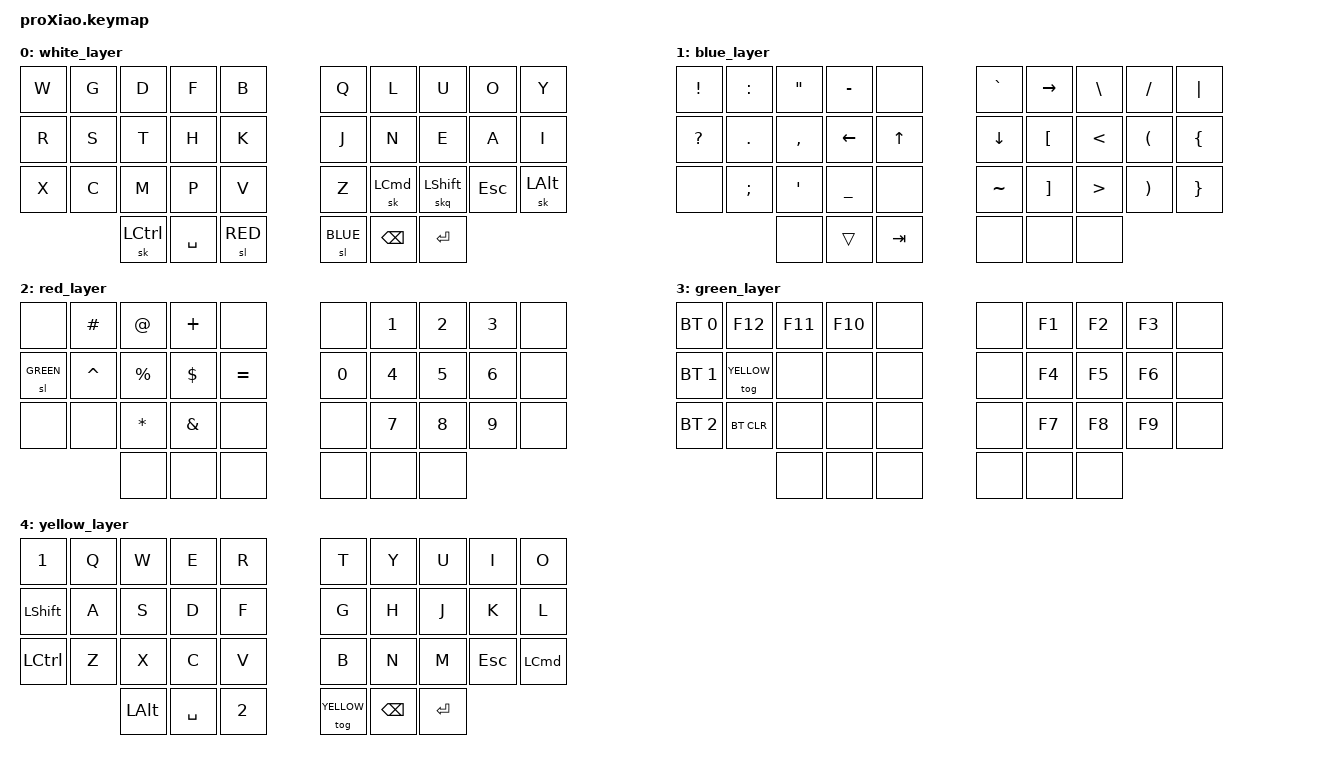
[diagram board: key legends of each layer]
/*
 * Copyright (c) 2020 The ZMK Contributors
 *
 * SPDX-License-Identifier: MIT
 */

#include <behaviors.dtsi>
#include <dt-bindings/zmk/keys.h>
#include <dt-bindings/zmk/bt.h>
#include <dt-bindings/zmk/outputs.h>

#define WHITE 0
#define BLUE 1
#define RED 2
#define GREEN 3
#define YELLOW 4

/ {
  behaviors {
    skq: sticky_key_quick_release {
      compatible = "zmk,behavior-sticky-key";
      label = "STICKY_KEY_QUICK_RELEASE";
      #binding-cells = <1>;
      bindings = <&kp>;
      release-after-ms = <1000>;
      quick-release;
      ignore-modifiers;
    };
  };

  keymap {
    compatible = "zmk,keymap";

    white_layer { bindings = <
    // ╭────────┬─────┬─────────┬─────────┬───────╮    ╭────────┬────────┬──────────┬───────┬───────╮
        &kp W    &kp G &kp D     &kp F     &kp B        &kp Q    &kp L    &kp U      &kp O   &kp Y  
    // ├────────┼─────┼─────────┼─────────┼───────┤    ├────────┼────────┼──────────┼───────┼───────┤
        &kp R    &kp S &kp T     &kp H     &kp K        &kp J    &kp N    &kp E      &kp A   &kp I  
    // ├────────┼─────┼─────────┼─────────┼───────┤    ├────────┼────────┼──────────┼───────┼───────┤
        &kp X    &kp C &kp M     &kp P     &kp V        &kp Z    &sk LCMD &skq LSHFT &kp ESC &sk LALT
    // ╰────────┴─────┴─────────┼─────────┼───────┤    ├────────┼────────┼──────────┼───────┴───────╯
                       &sk LCTRL &kp SPACE &sl RED      &sl BLUE &kp BSPC &kp ENTER
    //                ╰─────────┴─────────┴───────╯    ╰────────┴────────┴──────────╯
    >;};

    blue_layer { bindings = <
    // ╭─────────┬─────────┬─────────────┬─────────┬────────╮    ╭─────────┬─────────┬────────┬────────┬────────╮
        &kp EXCL  &kp COLON &kp DQT       &kp MINUS &none         &kp GRAVE &kp RIGHT &kp BSLH &kp FSLH &kp PIPE
    // ├─────────┼─────────┼─────────────┼─────────┼────────┤    ├─────────┼─────────┼────────┼────────┼────────┤
        &kp QMARK &kp DOT   &kp COMMA     &kp LEFT  &kp UP        &kp DOWN  &kp LBKT  &kp LT   &kp LPAR &kp LBRC
    // ├─────────┼─────────┼─────────────┼─────────┼────────┤    ├─────────┼─────────┼────────┼────────┼────────┤
        &none     &kp SEMI  &kp APOS      &kp UNDER &none         &kp TILDE &kp RBKT  &kp GT   &kp RPAR &kp RBRC
    // ╰─────────┴─────────┴─────────────┼─────────┼────────┤    ├─────────┼─────────┼────────┼────────┴────────╯
                            &none         &trans    &kp TAB       &none     &none     &none
    //                     ╰─────────────┴─────────┴────────╯    ╰─────────┴─────────┴────────╯
    >;};

    red_layer { bindings = <
    // ╭─────────┬─────────┬─────────┬────────┬─────────╮    ╭──────┬──────┬──────┬──────┬─────╮
        &none     &kp HASH  &kp AT    &kp PLUS &none          &none  &kp N1 &kp N2 &kp N3 &none
    // ├─────────┼─────────┼─────────┼────────┼─────────┤    ├──────┼──────┼──────┼──────┼─────┤
        &sl GREEN &kp CARET &kp PRCNT &kp DLLR &kp EQUAL      &kp N0 &kp N4 &kp N5 &kp N6 &none
    // ├─────────┼─────────┼─────────┼────────┼─────────┤    ├──────┼──────┼──────┼──────┼─────┤
        &none     &none     &kp ASTRK &kp AMPS &none          &none  &kp N7 &kp N8 &kp N9 &none
    // ╰─────────┴─────────┴─────────┼────────┼─────────┤    ├──────┼──────┼──────┼──────┴─────╯
                            &none     &none    &none          &none  &none  &none 
    //                     ╰─────────┴────────┴─────────╯    ╰──────┴──────┴──────╯
    >;};

    green_layer { bindings = <
    // ╭────────────┬───────────┬───────┬───────┬─────╮    ╭─────┬──────┬──────┬──────┬─────╮
        &bt BT_SEL 0 &kp F12     &kp F11 &kp F10 &none      &none &kp F1 &kp F2 &kp F3 &none
    // ├────────────┼───────────┼───────┼───────┼─────┤    ├─────┼──────┼──────┼──────┼─────┤
        &bt BT_SEL 1 &tog YELLOW &none   &none   &none      &none &kp F4 &kp F5 &kp F6 &none
    // ├────────────┼───────────┼───────┼───────┼─────┤    ├─────┼──────┼──────┼──────┼─────┤
        &bt BT_SEL 2 &bt BT_CLR  &none   &none   &none      &none &kp F7 &kp F8 &kp F9 &none
    // ╰────────────┴───────────┴───────┼───────┼─────┤    ├─────┼──────┼──────┼──────┴─────╯
                                 &none   &none   &none      &none &none  &none 
    //                          ╰───────┴───────┴─────╯    ╰─────┴──────┴──────╯
    >;};

    yellow_layer { bindings = <
    // ╭─────────┬─────┬────────┬─────────┬──────╮    ╭──────────┬────────┬─────────┬────────┬───────╮
        &kp N1    &kp Q &kp W    &kp E     &kp R       &kp T      &kp Y    &kp U     &kp I    &kp O
    // ├─────────┼─────┼────────┼─────────┼──────┤    ├──────────┼────────┼─────────┼────────┼───────┤
        &kp LSHFT &kp A &kp S    &kp D     &kp F       &kp G      &kp H    &kp J     &kp K    &kp L
    // ├─────────┼─────┼────────┼─────────┼──────┤    ├──────────┼────────┼─────────┼────────┼───────┤
        &kp LCTRL &kp Z &kp X    &kp C     &kp V       &kp B      &kp N    &kp M     &kp ESC  &kp LCMD
    // ╰─────────┴─────┴────────┼─────────┼──────┤    ├──────────┼────────┼─────────┼────────┴───────╯
                        &kp LALT &kp SPACE &kp N2      &tog YELLOW &kp BSPC &kp ENTER 
    //                 ╰────────┴─────────┴──────╯    ╰──────────┴────────┴─────────╯
    >;};
  };
};
